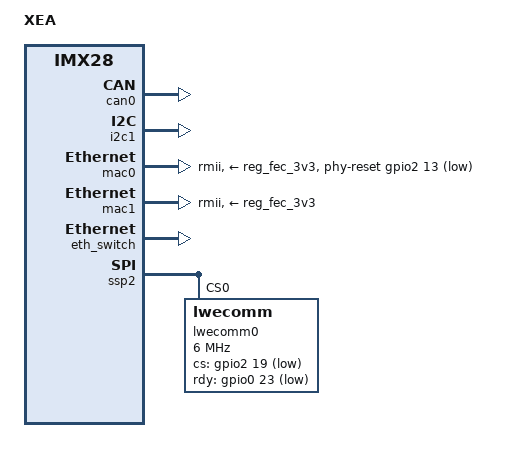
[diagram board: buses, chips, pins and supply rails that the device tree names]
// SPDX-License-Identifier: GPL-2.0-or-later OR MIT
/*
 * Copyright 2020
 * Lukasz Majewski, DENX Software Engineering, lukma@denx.de
 */

/dts-v1/;
#include "imx28-lwe.dtsi"

/ {
	model = "XEA";
};

&can0 {
	pinctrl-names = "default";
	pinctrl-0 = <&can1_pins_a>;
	status = "okay";
};

&i2c1 {
	pinctrl-names = "default";
	pinctrl-0 = <&i2c1_pins_b>;
	status = "okay";
};

&mac0 {
	pinctrl-names = "default";
	pinctrl-0 = <&mac0_pins_a>;
	phy-mode = "rmii";
	phy-supply = <&reg_fec_3v3>;
	phy-reset-gpios = <&gpio2 13 0>;
	phy-reset-duration = <100>;
	local-mac-address = [ 00 11 22 AA BB CC ];
	status = "okay";
};

&mac1 {
	pinctrl-names = "default";
	pinctrl-0 = <&mac1_pins_a>;
	phy-mode = "rmii";
	phy-supply = <&reg_fec_3v3>;
	local-mac-address = [ 00 11 22 AA BB DD ];
	status = "okay";
};

&eth_switch {
	compatible = "imx,mtip-l2switch";
	reg = <0x800f8000 0x400>, <0x800fC000 0x4000>,  <0x800f8400 0x400>;

	interrupts = <100>;
	status = "okay";

	ports {
		port1@1 {
			reg = <1>;
			label = "eth0";
			phy-handle = <&mac0>;
		};

		port2@2 {
			reg = <2>;
			label = "eth1";
			phy-handle = <&mac1>;
		};
	};
};

&pinctrl {
	pinctrl-names = "default";
	pinctrl-0 = <&hog_pins_a &hog_pins_tiva>;

	hog_pins_a: hog@0 {
		reg = <0>;
		fsl,pinmux-ids = <
			MX28_PAD_GPMI_D00__GPIO_0_0
			MX28_PAD_GPMI_D02__GPIO_0_2
			MX28_PAD_GPMI_D05__GPIO_0_5
			MX28_PAD_GPMI_CE1N__GPIO_0_17
			MX28_PAD_GPMI_RDY0__GPIO_0_20
			MX28_PAD_GPMI_RDY1__GPIO_0_21
			MX28_PAD_GPMI_RDY2__GPIO_0_22
			MX28_PAD_GPMI_RDN__GPIO_0_24
			MX28_PAD_GPMI_CLE__GPIO_0_27
			MX28_PAD_LCD_VSYNC__GPIO_1_28
			MX28_PAD_SSP1_SCK__GPIO_2_12
			MX28_PAD_SSP1_CMD__GPIO_2_13
			MX28_PAD_SSP2_SS1__GPIO_2_20
			MX28_PAD_SSP2_SS2__GPIO_2_21
			MX28_PAD_LCD_D00__GPIO_1_0
			MX28_PAD_LCD_D01__GPIO_1_1
			MX28_PAD_LCD_D02__GPIO_1_2
			MX28_PAD_LCD_D03__GPIO_1_3
			MX28_PAD_LCD_D04__GPIO_1_4
			MX28_PAD_LCD_D05__GPIO_1_5
			MX28_PAD_LCD_D06__GPIO_1_6
		>;
		fsl,drive-strength = <MXS_DRIVE_4mA>;
		fsl,voltage = <MXS_VOLTAGE_HIGH>;
		fsl,pull-up = <MXS_PULL_DISABLE>;
	};

	hog_pins_tiva: hog@1 {
		reg = <1>;
		fsl,pinmux-ids = <
			MX28_PAD_GPMI_RDY3__GPIO_0_23
			MX28_PAD_GPMI_WRN__GPIO_0_25
		>;
		fsl,voltage = <MXS_VOLTAGE_HIGH>;
		fsl,pull-up = <MXS_PULL_DISABLE>;
	};

	hog_pins_coding: hog@2 {
		reg = <2>;
		fsl,pinmux-ids = <
			MX28_PAD_GPMI_D01__GPIO_0_1
			MX28_PAD_GPMI_D03__GPIO_0_3
			MX28_PAD_GPMI_D04__GPIO_0_4
			MX28_PAD_GPMI_D06__GPIO_0_6
			MX28_PAD_GPMI_D07__GPIO_0_7
		>;
		fsl,voltage = <MXS_VOLTAGE_HIGH>;
		fsl,pull-up = <MXS_PULL_DISABLE>;
	};
};

&reg_fec_3v3 {
	gpio = <&gpio0 0 0>;
};

&reg_usb_5v {
	gpio = <&gpio0 2 0>;
};

&ssp2 {
	lwecomm0: iocom@0 {
		compatible = "lwecomm";
		#address-cells = <1>;
		#size-cells = <1>;
		spi-max-frequency = <6000000>;
		spi-cpha;
		reg = <0>;
		cs-gpio = <&gpio2 19 GPIO_ACTIVE_LOW>;
		rdy-gpio = <&gpio0 23 GPIO_ACTIVE_LOW>;
		pktsize = <256>;
	};
};

&spi2_pins_a {
	fsl,pinmux-ids = <
		MX28_PAD_SSP2_SCK__SSP2_SCK
		MX28_PAD_SSP2_MOSI__SSP2_CMD
		MX28_PAD_SSP2_MISO__SSP2_D0
		MX28_PAD_SSP2_SS0__GPIO_2_19
	>;
};
